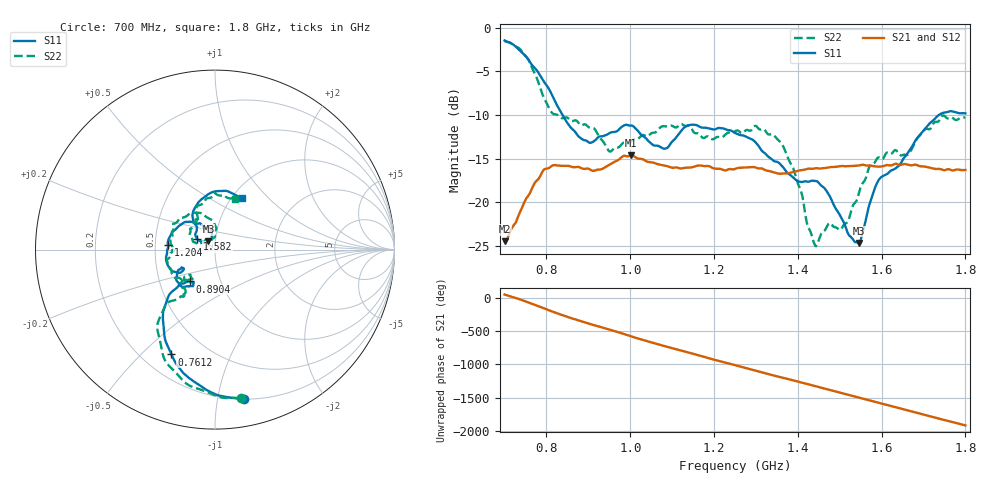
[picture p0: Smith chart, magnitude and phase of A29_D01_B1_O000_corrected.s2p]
! Created with skrf 1.9.0 (http://scikit-rf.org).
# Hz S RI R 50.0
!freq ReS11 ImS11 ReS21 ImS21 ReS12 ImS12 ReS22 ImS22
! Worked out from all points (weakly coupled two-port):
!   1601 points, 700 MHz to 1.8 GHz, reference 50 ohm
!   highest |S21| = -14.63 dB at 1.002 GHz (marker M1); lowest = -24.5 dB at 700.7 MHz (marker M2)
!   lowest |S11| = -24.7 dB at 1.546 GHz (marker M3), VSWR 1.12, Z = 46.3 + j4.24 ohm
!   |S11| at or under -10 dB: 838.4 MHz to 1.736 GHz (898 MHz wide, 69.8 % of centre)
!   |S22| runs from -25.0 to -1.5 dB; largest |S21 - S12| = 0.0037
!   S11 on the Smith chart (normalised r, x): 700 MHz: 0.20, -1.19; 761.2 MHz: 0.32, -0.62; 890.4 MHz: 0.71, -0.27; 1.204 GHz: 0.59, +0.03; 1.582 GHz: 0.81, +0.10; 1.8 GHz: 1.11, +0.71
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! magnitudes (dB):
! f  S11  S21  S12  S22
! 700 MHz  -1.4  -24.5  -24.2  -1.5
! 700.7 MHz  -1.5  -24.5  -24.2  -1.5
! 761.2 MHz  -4.0  -18.9  -18.8  -4.1
! 812.1 MHz  -7.6  -15.8  -15.8  -9.7
! 883.6 MHz  -12.7  -16.1  -16.0  -11.2
! 890.4 MHz  -12.9  -16.2  -16.2  -11.1
! 950.9 MHz  -12.1  -15.7  -15.7  -14.2
! 1.002 GHz  -11.2  -14.6  -14.7  -13.0
! 1.067 GHz  -13.5  -15.6  -15.6  -11.7
! 1.141 GHz  -11.2  -16.0  -16.0  -11.2
! 1.204 GHz  -11.6  -16.2  -16.2  -12.6
! 1.25 GHz  -12.1  -16.2  -16.1  -11.9
! 1.36 GHz  -15.7  -16.7  -16.7  -13.2
! 1.406 GHz  -17.7  -16.3  -16.3  -18.5
! 1.434 GHz  -17.5  -16.2  -16.1  -23.9
! 1.504 GHz  -21.8  -15.8  -15.9  -23.1
! 1.546 GHz  -24.7  -15.8  -15.8  -19.0
! 1.582 GHz  -18.6  -15.9  -15.9  -15.5
! 1.617 GHz  -16.6  -15.8  -15.7  -14.4
! 1.663 GHz  -14.3  -15.7  -15.7  -14.5
! 1.736 GHz  -10.0  -16.2  -16.2  -10.7
! 1.8 GHz  -9.8  -16.3  -16.3  -10.3
